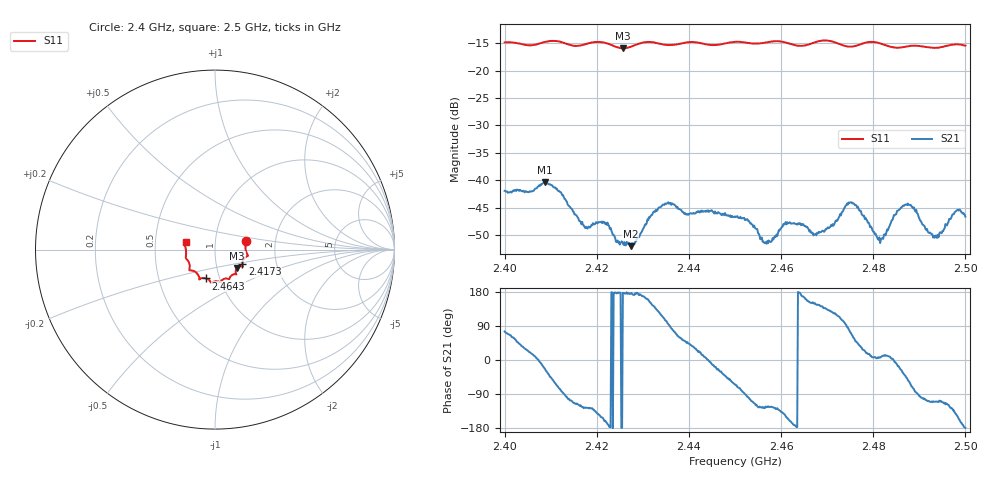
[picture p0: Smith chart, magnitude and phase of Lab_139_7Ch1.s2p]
# Hz S RI R 50
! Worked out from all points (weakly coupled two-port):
!   601 points, 2.4 GHz to 2.5 GHz, reference 50 ohm
!   highest |S21| = -40.40 dB at 2.4087 GHz (marker M1); lowest = -52.0 dB at 2.4273 GHz (marker M2)
!   lowest |S11| = -15.9 dB at 2.4257 GHz (marker M3), VSWR 1.38, Z = 62.4 - j13.1 ohm
!   |S11| at or under -10 dB: start of sweep to end of sweep
!   S12 and S22 are empty: the file has one direction only
!   S11 on the Smith chart (normalised r, x): 2.4 GHz: 1.41, +0.14; 2.4173 GHz: 1.34, -0.23; 2.4643 GHz: 0.86, -0.28; 2.5 GHz: 0.72, +0.06
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2.4e9  0.1736 0.0495  0.00202 0.00775  0 0  0 0
2.408667e9  0.1806 -0.026  0.00886 -0.00354  0 0  0 0
2.412167e9  0.1791 -0.0369  0.00138 -0.00767  0 0  0 0
2.416667e9  0.153 -0.0747  -0.00215 -0.00334  0 0  0 0
2.417333e9  0.1524 -0.0822  -0.00218 -0.00306  0 0  0 0
2.421833e9  0.1523 -0.0948  -0.00375 -0.00136  0 0  0 0
2.425667e9  0.1225 -0.1023  -0.00266 0.000123  0 0  0 0
2.427333e9  0.1155 -0.1174  -0.0025 0.000207  0 0  0 0
2.433333e9  0.1127 -0.1367  -0.00346 0.00436  0 0  0 0
2.45e9  0.0296 -0.1807  0.00202 -0.00422  0 0  0 0
2.456667e9  -0.0115 -0.1802  -0.00147 -0.0023  0 0  0 0
2.461e9  -0.026 -0.1785  -0.00352 -0.0022  0 0  0 0
2.464333e9  -0.0502 -0.1605  -0.00385 0.00055  0 0  0 0
2.466667e9  -0.0762 -0.1598  -0.00289 0.00163  0 0  0 0
2.471e9  -0.0869 -0.1632  -0.00228 0.00307  0 0  0 0
2.475167e9  -0.1081 -0.1249  0.00212 0.0059  0 0  0 0
2.481167e9  -0.1422 -0.1084  0.00285 0.000288  0 0  0 0
2.483333e9  -0.1408 -0.0895  0.0036 0.000607  0 0  0 0
2.487e9  -0.1557 -0.0563  0.00445 -0.00404  0 0  0 0
2.493333e9  -0.1609 -0.00974  -0.00104 -0.0028  0 0  0 0
2.498167e9  -0.1709 0.0322  -0.00447 -0.00288  0 0  0 0
2.5e9  -0.1638 0.042  -0.00465 -6.48e-05  0 0  0 0
